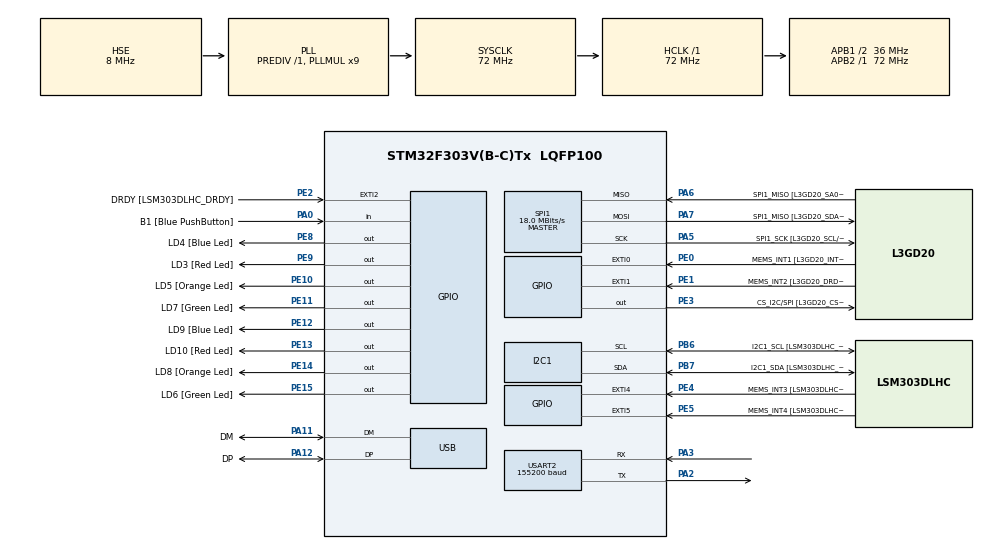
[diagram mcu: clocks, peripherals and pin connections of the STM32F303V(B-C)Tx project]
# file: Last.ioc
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I2C1.Timing=0x00201D2B
I2C1.Timing-I2C=0x2000090E
Mcu.Family=STM32F3
Mcu.Name=STM32F303V(B-C)Tx
Mcu.Package=LQFP100
NVIC.PriorityGroup=NVIC_PRIORITYGROUP_0
NVIC.USB_LP_CAN_RX0_IRQn=true\:0\:0\:false\:false\:true\:false\:true\:true
PA0.GPIO_Label=B1 [Blue PushButton]
PA0.Signal=GPIO_Input
PA11.GPIO_Label=DM
PA11.Mode=Device
PA11.Signal=USB_DM
PA12.GPIO_Label=DP
PA12.Mode=Device
PA12.Signal=USB_DP
PA13.GPIO_Label=SWDIO
PA13.Mode=Serial_Wire
PA13.Signal=SYS_JTMS-SWDIO
PA14.GPIO_Label=SWCLK
PA14.Mode=Serial_Wire
PA14.Signal=SYS_JTCK-SWCLK
PA2.Mode=Asynchronous
PA2.Signal=USART2_TX
PA3.Mode=Asynchronous
PA3.Signal=USART2_RX
PA5.GPIO_Label=SPI1_SCK [L3GD20_SCL/SPC]
PA5.Mode=Full_Duplex_Master
PA5.Signal=SPI1_SCK
PA6.GPIO_Label=SPI1_MISO [L3GD20_SA0/SDO]
PA6.Mode=Full_Duplex_Master
PA6.Signal=SPI1_MISO
PA7.GPIO_Label=SPI1_MISO [L3GD20_SDA/SDI/SDO]
PA7.Mode=Full_Duplex_Master
PA7.Signal=SPI1_MOSI
PB3.GPIO_Label=SWO
PB3.Signal=SYS_JTDO-TRACESWO
PB6.GPIO_Label=I2C1_SCL [LSM303DLHC_SCL]
PB6.GPIO_Pu=GPIO_PULLUP
PB6.Mode=I2C
PB6.Signal=I2C1_SCL
PB7.GPIO_Label=I2C1_SDA [LSM303DLHC_SDA]
PB7.GPIO_Pu=GPIO_PULLUP
PB7.Mode=I2C
PB7.Signal=I2C1_SDA
PC14-OSC32_IN.GPIO_Label=OSC32_IN
PC14-OSC32_IN.Signal=RCC_OSC32_IN
PC15-OSC32_OUT.GPIO_Label=OSC32_OUT
PC15-OSC32_OUT.Signal=RCC_OSC32_OUT
PE0.GPIO_Label=MEMS_INT1 [L3GD20_INT1]
PE0.GPIO_ModeDefaultEXTI=GPIO_MODE_EVT_RISING
PE0.Signal=GPXTI0
PE1.GPIO_Label=MEMS_INT2 [L3GD20_DRDY/INT2]
PE1.GPIO_ModeDefaultEXTI=GPIO_MODE_EVT_RISING
PE1.Signal=GPXTI1
PE10.GPIO_Label=LD5 [Orange Led]
PE10.Signal=GPIO_Output
PE11.GPIO_Label=LD7 [Green Led]
PE11.Signal=GPIO_Output
PE12.GPIO_Label=LD9 [Blue Led]
PE12.Signal=GPIO_Output
PE13.GPIO_Label=LD10 [Red Led]
PE13.Signal=GPIO_Output
PE14.GPIO_Label=LD8 [Orange Led]
PE14.Signal=GPIO_Output
PE15.GPIO_Label=LD6 [Green Led]
PE15.Signal=GPIO_Output
PE2.GPIO_Label=DRDY [LSM303DLHC_DRDY]
PE2.GPIO_ModeDefaultEXTI=GPIO_MODE_EVT_RISING
PE2.Signal=GPXTI2
PE3.GPIO_Label=CS_I2C/SPI [L3GD20_CS_I2C/SPI]
PE3.Signal=GPIO_Output
PE4.GPIO_Label=MEMS_INT3 [LSM303DLHC_INT1]
PE4.GPIO_ModeDefaultEXTI=GPIO_MODE_EVT_RISING
PE4.Signal=GPXTI4
PE5.GPIO_Label=MEMS_INT4 [LSM303DLHC_INT2]
PE5.GPIO_ModeDefaultEXTI=GPIO_MODE_EVT_RISING
PE5.Signal=GPXTI5
PE8.GPIO_Label=LD4 [Blue Led]
PE8.Signal=GPIO_Output
PE9.GPIO_Label=LD3 [Red Led]
PE9.Signal=GPIO_Output
PF0-OSC_IN.GPIO_Label=OSC_IN
PF0-OSC_IN.Mode=HSE-External-Oscillator
PF0-OSC_IN.Signal=RCC_OSC_IN
PF1-OSC_OUT.GPIO_Label=OSC_OUT
PF1-OSC_OUT.Mode=HSE-External-Oscillator
PF1-OSC_OUT.Signal=RCC_OSC_OUT
ProjectManager.HeapSize=0x200
ProjectManager.StackSize=0x400
ProjectManager.TargetToolchain=STM32CubeIDE
RCC.AHBFreq_Value=72000000
RCC.APB1CLKDivider=RCC_HCLK_DIV2
RCC.APB1Freq_Value=36000000
RCC.APB1TimFreq_Value=72000000
RCC.APB2Freq_Value=72000000
RCC.APB2TimFreq_Value=72000000
RCC.CortexFreq_Value=72000000
RCC.HCLKFreq_Value=72000000
RCC.HSE_VALUE=8000000
RCC.HSI_VALUE=8000000
RCC.LSE_VALUE=32768
RCC.PLLMUL=RCC_PLL_MUL9
RCC.PRESCALERUSB=RCC_USBCLKSOURCE_PLL_DIV1_5
RCC.SYSCLKFreq_VALUE=72000000
RCC.SYSCLKSourceVirtual=RCC_SYSCLKSOURCE_PLLCLK
RCC.USBFreq_Value=48000000
SPI1.BaudRatePrescaler=SPI_BAUDRATEPRESCALER_4
SPI1.BaudRatePrescaler-Full_Duplex_Master=SPI_BAUDRATEPRESCALER_2
SPI1.CalculateBaudRate=18.0 MBits/s
SPI1.CalculateBaudRate-Full_Duplex_Master=24.0 MBits/s
SPI1.Direction=SPI_DIRECTION_2LINES
SPI1.Mode=SPI_MODE_MASTER
SPI1.Mode-Full_Duplex_Master=SPI_MODE_MASTER
SPI1.VirtualType=VM_MASTER
USART2.BaudRate=155200
USART2.VirtualMode-Asynchronous=VM_ASYNC
USB_DEVICE.CLASS_NAME_FS=CDC
USB_DEVICE.VirtualMode=Cdc
USB_DEVICE.VirtualModeFS=Cdc_FS
VP_USB_DEVICE_VS_USB_DEVICE_CDC_FS.Mode=CDC_FS
board=STM32F3DISCOVERY

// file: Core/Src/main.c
/* USER CODE BEGIN Header */
/**
  ******************************************************************************
  * @file           : main.c
  * @brief          : Main program body
  ******************************************************************************
  * @attention
  *
  * Copyright (c) 2024 STMicroelectronics.
  * All rights reserved.
  *
  * This software is licensed under terms that can be found in the LICENSE file
  * in the root directory of this software component.
  * If no LICENSE file comes with this software, it is provided AS-IS.
  *
  ******************************************************************************
  */
/* USER CODE END Header */
#include "main.h"
#include "usb_device.h"

/* USER CODE BEGIN Includes */
#include "stm32f3xx.h"
#include "usbd_cdc_if.h"
#include "vector.h"
/* USER CODE END Includes */

I2C_HandleTypeDef hi2c1;

SPI_HandleTypeDef hspi1;

UART_HandleTypeDef huart2;

void SystemClock_Config(void);
static void MX_GPIO_Init(void);
static void MX_I2C1_Init(void);
static void MX_SPI1_Init(void);
static void MX_USART2_UART_Init(void);

int main(void)
{

  /* MCU Configuration--------------------------------------------------------*/

  /* Reset of all peripherals, Initializes the Flash interface and the Systick. */
  HAL_Init();

  /* Configure the system clock */
  SystemClock_Config();

  /* Initialize all configured peripherals */
  MX_GPIO_Init();
  MX_I2C1_Init();
  MX_SPI1_Init();
  MX_USART2_UART_Init();
  MX_USB_DEVICE_Init();
  /* USER CODE BEGIN 2 */
  //AccelMag_Ini();
  Accel_Ini();
    AccelMag_Ini();
    char str1[60] = {0};
      int16_t AccelData[3];
      int16_t MagData[3];
      Matrix3f MagCalibr, AccCalibr;
      Vector3f MagR, AccR, Mag, Acc, MagShift, AccShift;

      MagShift[0] =-20.637076f;
      MagShift[1] =-67.148205f;
      MagShift[2] =-296.580905f;

      MagCalibr[0][0] =1.021984f;
      MagCalibr[0][1] =0.004194f;
      MagCalibr[0][2] =0.018345f;

      MagCalibr[1][0] =0.004194f;
      MagCalibr[1][1] =1.018923f;
      MagCalibr[1][2] =0.014422f;

      MagCalibr[2][0] =0.018345f;
      MagCalibr[2][1] =0.014422f;
      MagCalibr[2][2] =1.112105f;
  /* USER CODE END 2 */

  /* Infinite loop */
  while (1)
  {

    /* USER CODE BEGIN 3 */
	 // AccelMag_Read();
	  Accel_GetXYZ(AccelData);
	  Mag_GetXYZ(MagData);
	  MagR[0] = (float)MagData[0] - MagShift[0]; //MagShift - это вектор до матрицы
	  MagR[1] = (float)MagData[1] - MagShift[1];
	  MagR[2] = (float)MagData[2] - MagShift[2];
	  V3fTransform(MagR, MagCalibr, Mag);
	  sprintf(str1, "%06d;%06d;%06d;%06d;%06d;%06d;", AccelData[0], AccelData[1], AccelData[2], (int)Mag[0], (int)Mag[1], (int)Mag[2]); // до калибровки
	  CDC_Transmit_FS((uint8_t*)str1, strlen(str1));
	  HAL_Delay(50);

		//  Accel_ReadAcc();
//	  uint8_t message[] = "Hello from STM32!"; // проверка usb
//	  CDC_Transmit_FS(message, strlen((char*)message));
  }
  /* USER CODE END 3 */
}

void SystemClock_Config(void)
{
  RCC_OscInitTypeDef RCC_OscInitStruct = {0};
  RCC_ClkInitTypeDef RCC_ClkInitStruct = {0};
  RCC_PeriphCLKInitTypeDef PeriphClkInit = {0};

  /** Initializes the RCC Oscillators according to the specified parameters
  * in the RCC_OscInitTypeDef structure.
  */
  RCC_OscInitStruct.OscillatorType = RCC_OSCILLATORTYPE_HSI|RCC_OSCILLATORTYPE_HSE;
  RCC_OscInitStruct.HSEState = RCC_HSE_ON;
  RCC_OscInitStruct.HSEPredivValue = RCC_HSE_PREDIV_DIV1;
  RCC_OscInitStruct.HSIState = RCC_HSI_ON;
  RCC_OscInitStruct.HSICalibrationValue = RCC_HSICALIBRATION_DEFAULT;
  RCC_OscInitStruct.PLL.PLLState = RCC_PLL_ON;
  RCC_OscInitStruct.PLL.PLLSource = RCC_PLLSOURCE_HSE;
  RCC_OscInitStruct.PLL.PLLMUL = RCC_PLL_MUL9;
  if (HAL_RCC_OscConfig(&RCC_OscInitStruct) != HAL_OK)
  {
    Error_Handler();
  }

  /** Initializes the CPU, AHB and APB buses clocks
  */
  RCC_ClkInitStruct.ClockType = RCC_CLOCKTYPE_HCLK|RCC_CLOCKTYPE_SYSCLK
                              |RCC_CLOCKTYPE_PCLK1|RCC_CLOCKTYPE_PCLK2;
  RCC_ClkInitStruct.SYSCLKSource = RCC_SYSCLKSOURCE_PLLCLK;
  RCC_ClkInitStruct.AHBCLKDivider = RCC_SYSCLK_DIV1;
  RCC_ClkInitStruct.APB1CLKDivider = RCC_HCLK_DIV2;
  RCC_ClkInitStruct.APB2CLKDivider = RCC_HCLK_DIV1;

  if (HAL_RCC_ClockConfig(&RCC_ClkInitStruct, FLASH_LATENCY_2) != HAL_OK)
  {
    Error_Handler();
  }
  PeriphClkInit.PeriphClockSelection = RCC_PERIPHCLK_USB|RCC_PERIPHCLK_USART2
                              |RCC_PERIPHCLK_I2C1;
  PeriphClkInit.Usart2ClockSelection = RCC_USART2CLKSOURCE_PCLK1;
  PeriphClkInit.I2c1ClockSelection = RCC_I2C1CLKSOURCE_HSI;
  PeriphClkInit.USBClockSelection = RCC_USBCLKSOURCE_PLL_DIV1_5;
  if (HAL_RCCEx_PeriphCLKConfig(&PeriphClkInit) != HAL_OK)
  {
    Error_Handler();
  }
}

static void MX_I2C1_Init(void)
{

  hi2c1.Instance = I2C1;
  hi2c1.Init.Timing = 0x00201D2B;
  hi2c1.Init.OwnAddress1 = 0;
  hi2c1.Init.AddressingMode = I2C_ADDRESSINGMODE_7BIT;
  hi2c1.Init.DualAddressMode = I2C_DUALADDRESS_DISABLE;
  hi2c1.Init.OwnAddress2 = 0;
  hi2c1.Init.OwnAddress2Masks = I2C_OA2_NOMASK;
  hi2c1.Init.GeneralCallMode = I2C_GENERALCALL_DISABLE;
  hi2c1.Init.NoStretchMode = I2C_NOSTRETCH_DISABLE;
  if (HAL_I2C_Init(&hi2c1) != HAL_OK)
  {
    Error_Handler();
  }

  /** Configure Analogue filter
  */
  if (HAL_I2CEx_ConfigAnalogFilter(&hi2c1, I2C_ANALOGFILTER_ENABLE) != HAL_OK)
  {
    Error_Handler();
  }

  /** Configure Digital filter
  */
  if (HAL_I2CEx_ConfigDigitalFilter(&hi2c1, 0) != HAL_OK)
  {
    Error_Handler();
  }

}

static void MX_SPI1_Init(void)
{

  /* SPI1 parameter configuration*/
  hspi1.Instance = SPI1;
  hspi1.Init.Mode = SPI_MODE_MASTER;
  hspi1.Init.Direction = SPI_DIRECTION_2LINES;
  hspi1.Init.DataSize = SPI_DATASIZE_4BIT;
  hspi1.Init.CLKPolarity = SPI_POLARITY_LOW;
  hspi1.Init.CLKPhase = SPI_PHASE_1EDGE;
  hspi1.Init.NSS = SPI_NSS_SOFT;
  hspi1.Init.BaudRatePrescaler = SPI_BAUDRATEPRESCALER_4;
  hspi1.Init.FirstBit = SPI_FIRSTBIT_MSB;
  hspi1.Init.TIMode = SPI_TIMODE_DISABLE;
  hspi1.Init.CRCCalculation = SPI_CRCCALCULATION_DISABLE;
  hspi1.Init.CRCPolynomial = 7;
  hspi1.Init.CRCLength = SPI_CRC_LENGTH_DATASIZE;
  hspi1.Init.NSSPMode = SPI_NSS_PULSE_ENABLE;
  if (HAL_SPI_Init(&hspi1) != HAL_OK)
  {
    Error_Handler();
  }

}

static void MX_USART2_UART_Init(void)
{

  huart2.Instance = USART2;
  huart2.Init.BaudRate = 115200;
  huart2.Init.WordLength = UART_WORDLENGTH_8B;
  huart2.Init.StopBits = UART_STOPBITS_1;
  huart2.Init.Parity = UART_PARITY_NONE;
  huart2.Init.Mode = UART_MODE_TX_RX;
  huart2.Init.HwFlowCtl = UART_HWCONTROL_NONE;
  huart2.Init.OverSampling = UART_OVERSAMPLING_16;
  huart2.Init.OneBitSampling = UART_ONE_BIT_SAMPLE_DISABLE;
  huart2.AdvancedInit.AdvFeatureInit = UART_ADVFEATURE_NO_INIT;
  if (HAL_UART_Init(&huart2) != HAL_OK)
  {
    Error_Handler();
  }

}

static void MX_GPIO_Init(void)
{
  GPIO_InitTypeDef GPIO_InitStruct = {0};

  /* GPIO Ports Clock Enable */
  __HAL_RCC_GPIOE_CLK_ENABLE();
  __HAL_RCC_GPIOC_CLK_ENABLE();
  __HAL_RCC_GPIOF_CLK_ENABLE();
  __HAL_RCC_GPIOA_CLK_ENABLE();
  __HAL_RCC_GPIOB_CLK_ENABLE();

  /*Configure GPIO pin Output Level */
  HAL_GPIO_WritePin(GPIOE, CS_I2C_SPI_Pin|LD4_Pin|LD3_Pin|LD5_Pin
                          |LD7_Pin|LD9_Pin|LD10_Pin|LD8_Pin
                          |LD6_Pin, GPIO_PIN_RESET);

  /*Configure GPIO pins : DRDY_Pin MEMS_INT3_Pin MEMS_INT4_Pin MEMS_INT1_Pin
                           MEMS_INT2_Pin */
  GPIO_InitStruct.Pin = DRDY_Pin|MEMS_INT3_Pin|MEMS_INT4_Pin|MEMS_INT1_Pin
                          |MEMS_INT2_Pin;
  GPIO_InitStruct.Mode = GPIO_MODE_EVT_RISING;
  GPIO_InitStruct.Pull = GPIO_NOPULL;
  HAL_GPIO_Init(GPIOE, &GPIO_InitStruct);

  /*Configure GPIO pins : CS_I2C_SPI_Pin LD4_Pin LD3_Pin LD5_Pin
                           LD7_Pin LD9_Pin LD10_Pin LD8_Pin
                           LD6_Pin */
  GPIO_InitStruct.Pin = CS_I2C_SPI_Pin|LD4_Pin|LD3_Pin|LD5_Pin
                          |LD7_Pin|LD9_Pin|LD10_Pin|LD8_Pin
                          |LD6_Pin;
  GPIO_InitStruct.Mode = GPIO_MODE_OUTPUT_PP;
  GPIO_InitStruct.Pull = GPIO_NOPULL;
  GPIO_InitStruct.Speed = GPIO_SPEED_FREQ_LOW;
  HAL_GPIO_Init(GPIOE, &GPIO_InitStruct);

  /*Configure GPIO pin : B1_Pin */
  GPIO_InitStruct.Pin = B1_Pin;
  GPIO_InitStruct.Mode = GPIO_MODE_INPUT;
  GPIO_InitStruct.Pull = GPIO_NOPULL;
  HAL_GPIO_Init(B1_GPIO_Port, &GPIO_InitStruct);

}

void Error_Handler(void)
{
  __disable_irq();
  while (1)
  {
  }
}
